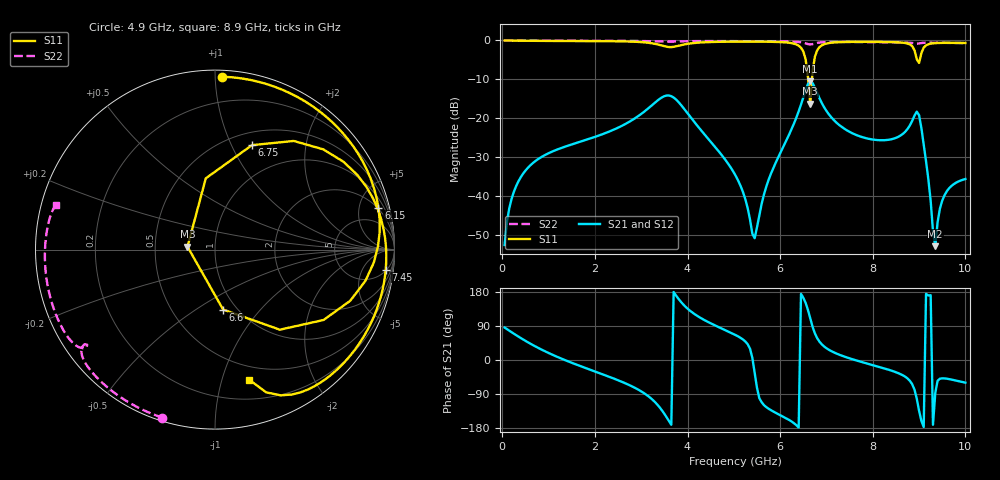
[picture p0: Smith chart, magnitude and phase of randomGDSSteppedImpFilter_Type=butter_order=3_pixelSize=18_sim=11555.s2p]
! freq	dB(S11)	phase(S11)	dB(S12)	phase(S12)
!  dB(S21)	phase(S21)	dB(S22)	phase(S22)
!S-par simulation data
#  GHz  S  DB  R 50
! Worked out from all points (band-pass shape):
!   200 points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, 50 MHz to 10 GHz, reference 50 ohm
!   highest |S21| = -10.51 dB at 6.65 GHz (marker M1); lowest = -53.0 dB at 9.35 GHz (marker M2)
!   |S21| within 3 dB of the highest: 6.53 GHz to 6.798 GHz (267.6 MHz wide, 4.02 % of centre)
!   lowest |S11| = -16.2 dB at 6.65 GHz (marker M3), VSWR 1.36, Z = 36.7 + j1.22 ohm
!   |S11| at or under -10 dB: 6.604 GHz to 6.688 GHz (83.52 MHz wide, 1.26 % of centre)
!   |S22| runs from -1.0 to 0.0 dB; largest |S21 - S12| = 0
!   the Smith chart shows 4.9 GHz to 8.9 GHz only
!   S11 on the Smith chart (normalised r, x): 4.9 GHz: 0.04, +1.04; 6.15 GHz: 1.87, +7.48; 6.6 GHz: 0.87, -0.65; 6.75 GHz: 0.64, +1.20; 7.45 GHz: 6, -15; 8.9 GHz: 0.37, -1.23
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0.05  -0.01 -7.1  -52.66 85.6  -52.66 85.6  -0.00 -1.2
0.7  -0.10 -89.8  -31.18 36.8  -31.18 36.8  -0.02 -16.4
1.75  -0.15 -178.1  -25.82 -19.0  -25.82 -19.0  -0.06 -40.5
2.9  -0.35 95.1  -19.76 -75.8  -19.76 -75.8  -0.13 -66.2
3.4  -1.17 9.0  -15.03 -125.3  -15.03 -125.3  -0.26 -76.9
3.65  -1.70 -81.5  -14.35 -170.9  -14.35 -170.9  -0.30 -81.4
3.95  -0.98 -173.5  -17.97 141.3  -17.97 141.3  -0.20 -87.3
4.9  -0.32 87.5  -32.13 74.1  -32.13 74.1  -0.17 -107.4
5.05  -0.30 78.4  -35.07 65.1  -35.07 65.1  -0.17 -110.6
5.45  -0.30 55.8  -50.92 -33.6  -50.92 -33.6  -0.20 -118.9
6.15  -0.54 14.4  -25.35 -155.1  -25.35 -155.1  -0.28 -134.0
6.45  -1.88 -20.7  -16.51 174.4  -16.51 174.4  -0.47 -141.4
6.6  -9.44 -82.3  -11.21 132.2  -11.21 132.2  -0.93 -144.1
6.65  -16.24 173.9  -10.51 109.7  -10.51 109.7  -1.04 -143.4
6.7  -7.95 97.4  -10.96 87.7  -10.96 87.7  -0.94 -142.8
6.75  -4.19 70.5  -12.16 70.2  -12.16 70.2  -0.76 -143.1
7.45  -0.38 -6.7  -23.20 6.3  -23.20 6.3  -0.38 -159.8
8.35  -0.40 -43.4  -25.56 -25.9  -25.56 -25.9  -0.48 178.8
8.9  -2.49 -75.2  -19.37 -77.9  -19.37 -77.9  -0.72 164.5
9.05  -3.22 -43.3  -22.57 -160.8  -22.57 -160.8  -0.67 162.2
9.35  -0.69 -63.8  -52.96 -86.8  -52.96 -86.8  -0.58 153.0
10  -0.66 -86.3  -35.67 -59.8  -35.67 -59.8  -0.68 132.9
